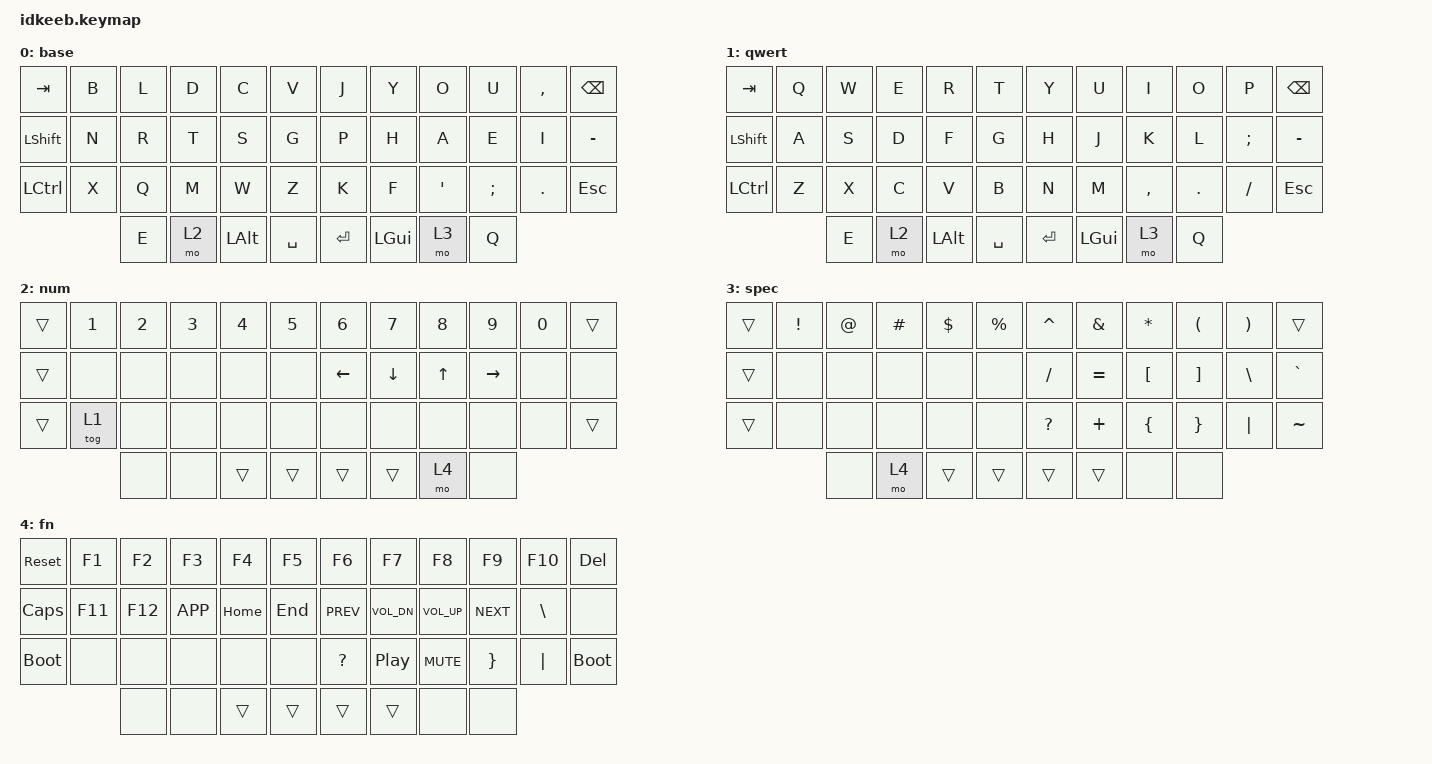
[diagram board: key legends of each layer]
#include <behaviors.dtsi>
#include <dt-bindings/zmk/keys.h>

/ {
    keymap {
        compatible = "zmk,keymap";

        base { // Layer 0

            bindings = <
                &kp TAB   &kp B     &kp L     &kp D     &kp C     &kp V          &kp J     &kp Y     &kp O     &kp U    &kp COMMA &kp BSPC    
                &kp LSHFT &kp N     &kp R     &kp T     &kp S     &kp G          &kp P     &kp H     &kp A     &kp E    &kp I     &kp MINUS
                &kp LCTRL &kp X     &kp Q     &kp M     &kp W     &kp Z          &kp K     &kp F     &kp APOS  &kp SEMI &kp DOT   &kp ESC
                                    &kp E     &mo 2     &kp LALT  &kp SPACE      &kp ENTER &kp LGUI  &mo 3     &kp Q    
            >;
        };

        qwert { // Layer 1

            bindings = <
                &kp TAB   &kp Q     &kp W     &kp E     &kp R     &kp T          &kp Y     &kp U     &kp I     &kp O    &kp P     &kp BSPC    
                &kp LSHFT &kp A     &kp S     &kp D     &kp F     &kp G          &kp H     &kp J     &kp K     &kp L    &kp SEMI  &kp MINUS
                &kp LCTRL &kp Z     &kp X     &kp C     &kp V     &kp B          &kp N     &kp M     &kp COMMA &kp DOT  &kp SLASH &kp ESC
                                    &kp E     &mo 2     &kp LALT  &kp SPACE      &kp ENTER &kp LGUI  &mo 3     &kp Q  
            >;
        };

        num { // Layer 2

            bindings = <
                &trans    &kp N1    &kp N2    &kp N3    &kp N4    &kp N5         &kp N6    &kp N7    &kp N8    &kp N9    &kp N0    &trans   
                &trans    &none     &none     &none     &none     &none          &kp LEFT  &kp DOWN  &kp UP    &kp RIGHT &none     &none
                &trans    &tog 1    &none     &none     &none     &none          &none     &none     &none     &none     &none     &trans
                                    &none     &none     &trans    &trans         &trans    &trans    &mo 4     &none    
            >;
        };

        spec { // Layer 3

            bindings = <
                &trans     &kp EXCL   &kp AT    &kp HASH  &kp DLLR  &kp PRCNT      &kp CARET &kp AMPS  &kp STAR  &kp LPAR  &kp RPAR  &trans   
                &trans     &none      &none     &none     &none     &none          &kp SLASH &kp EQUAL &kp LBKT  &kp RBKT  &kp BSLH  &kp GRAVE
                &trans     &none      &none     &none     &none     &none          &kp QMARK &kp PLUS  &kp LBRC  &kp RBRC  &kp PIPE  &kp TILDE
                                      &none     &mo 4     &trans    &trans         &trans    &trans    &none     &none    
            >;
        };

        fn { // Layer 3

            bindings = <
                &sys_reset  &kp F1     &kp F2    &kp F3    &kp F4    &kp F5         &kp F6     &kp F7       &kp F8        &kp F9     &kp F10   &kp DELETE
                &kp CAPS    &kp F11    &kp F12   &kp K_APP &kp HOME  &kp END        &kp C_PREV &kp C_VOL_DN &kp C_VOL_UP  &kp C_NEXT &kp BSLH  &none
                &bootloader &none      &none     &none     &none     &none          &kp QMARK  &kp C_PP     &kp C_MUTE    &kp RBRC   &kp PIPE  &bootloader
                                       &none     &none     &trans    &trans         &trans     &trans       &none         &none    
            >;
        };


    };
 };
